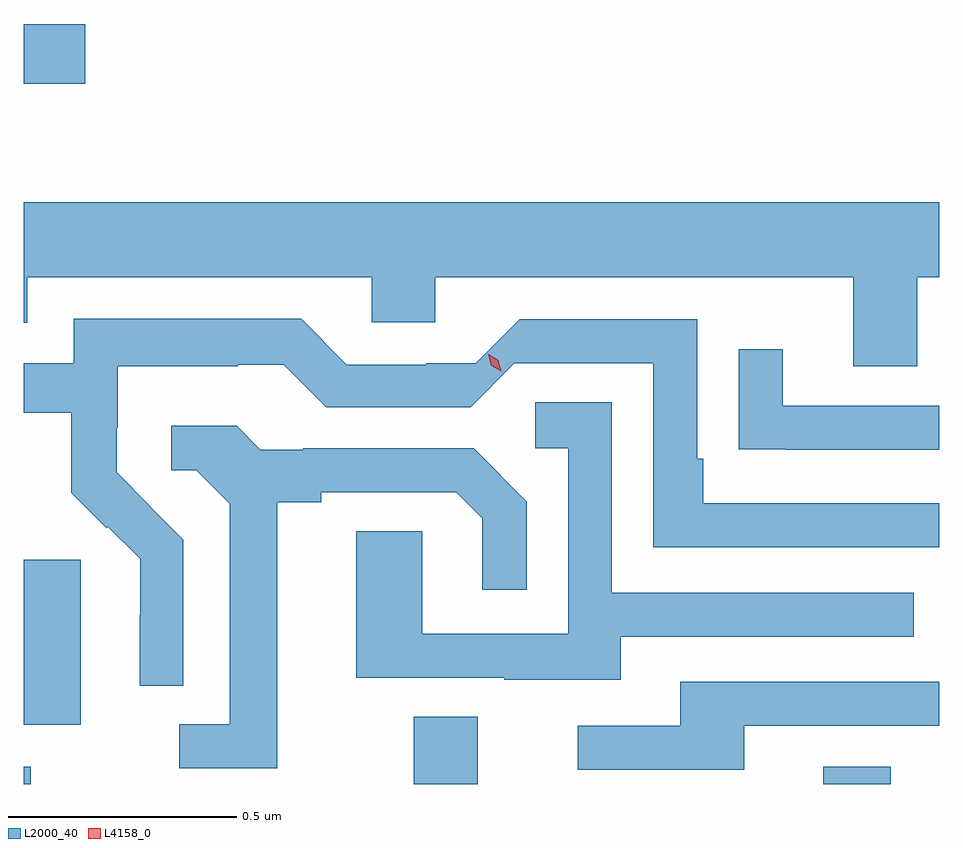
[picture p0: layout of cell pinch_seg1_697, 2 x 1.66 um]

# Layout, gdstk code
import gdstk
lib = gdstk.Library(unit=1e-6, precision=1e-09)
def R(c, l, rs):  # rectangles x0, y0, x1, y1
    for r in rs: c.add(gdstk.rectangle(r[:2], r[2:], *l))
def P(c, l, *ps):  # polygons
    for p in ps: c.add(gdstk.Polygon(p, *l))
L2000_40 = (2000, 40)
L4158_0 = (4158, 0)

pinch_seg1_697 = lib.new_cell('pinch_seg1_697')
R(pinch_seg1_697, L2000_40, [(658.883,553.289,658.899,553.327), (659.735,553.289,659.875,553.436), (660.629,553.289,660.777,553.327), (658.883,553.418,659.008,553.779), (658.883,554.819,659.017,554.949)])
P(pinch_seg1_697, L2000_40, [(658.883,554.297),(658.891,554.297),(658.891,554.396),(659.643,554.396),(659.643,554.298),(659.782,554.298),(659.782,554.396),(660.695,554.396),(660.695,554.202),(660.835,554.202),(660.835,554.396),(660.883,554.396),(660.883,554.56),(658.883,554.56)],
  [(659.232,553.822),(659.159,553.895),(659.16,553.896),(659.086,553.97),(659.086,554.067),(659.088,554.067),(659.088,554.201),(659.351,554.201),(659.351,554.205),(659.451,554.205),(659.544,554.112),(659.859,554.112),(659.955,554.208),(660.258,554.208),(660.258,553.806),(660.883,553.806),(660.883,553.902),(660.367,553.902),(660.367,553.999),(660.354,553.999),(660.354,554.304),(659.966,554.304),(659.87,554.208),(659.762,554.208),(659.762,554.205),(659.589,554.205),(659.489,554.305),(658.992,554.305),(658.992,554.208),(658.883,554.208),(658.883,554.1),(658.987,554.1),(658.987,553.925),(659.064,553.848),(659.067,553.851),(659.138,553.781),(659.138,553.658),(659.136,553.658),(659.136,553.504),(659.232,553.504)],
  [(660.883,554.115),(660.541,554.115),(660.541,554.239),(660.445,554.239),(660.445,554.02),(660.547,554.02),(660.547,554.019),(660.883,554.019)],
  [(660.187,553.611),(660.827,553.611),(660.827,553.707),(660.168,553.707),(660.168,554.123),(660,554.123),(660,554.022),(660.072,554.022),(660.072,553.617),(659.754,553.617),(659.754,553.841),(659.609,553.841),(659.609,553.521),(659.933,553.521),(659.933,553.517),(660.187,553.517)],
  [(659.437,553.904),(659.533,553.904),(659.533,553.926),(659.828,553.926),(659.885,553.869),(659.885,553.713),(659.982,553.713),(659.982,553.906),(659.866,554.022),(659.494,554.022),(659.494,554.019),(659.4,554.019),(659.348,554.071),(659.205,554.071),(659.205,553.974),(659.26,553.974),(659.333,553.901),(659.333,553.419),(659.223,553.419),(659.223,553.323),(659.437,553.323)],
  [(660.457,553.416),(660.883,553.416),(660.883,553.512),(660.317,553.512),(660.317,553.416),(660.093,553.416),(660.093,553.32),(660.457,553.32)])
P(pinch_seg1_697, L4158_0, [(659.926,554.19),(659.904,554.203),(659.898,554.228),(659.898,554.228),(659.899,554.228),(659.92,554.215),(659.926,554.19),(659.926,554.19)])

lib.write_gds('pinch_seg1_697.gds')
